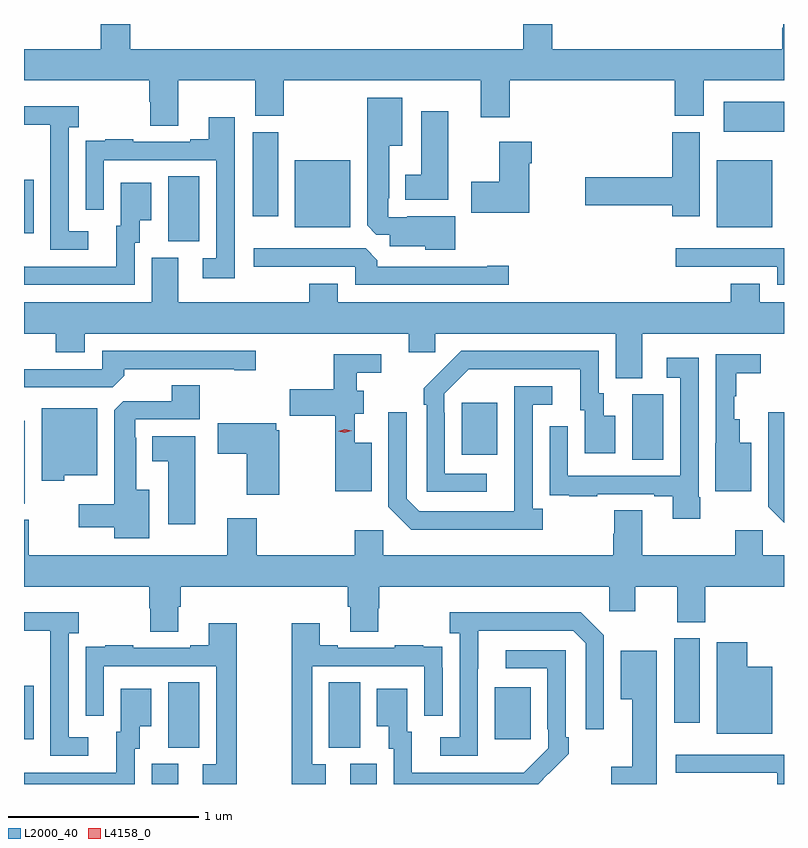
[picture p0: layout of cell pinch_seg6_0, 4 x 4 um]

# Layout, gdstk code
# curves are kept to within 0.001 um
import gdstk
lib = gdstk.Library(unit=1e-6, precision=1e-09)
def R(c, l, rs):  # rectangles x0, y0, x1, y1
    for r in rs: c.add(gdstk.rectangle(r[:2], r[2:], *l))
def P(c, l, *ps):  # polygons
    for p in ps: c.add(gdstk.Polygon(p, *l))
L2000_40 = (2000, 40)
L4158_0 = (4158, 0)

pinch_seg6_0 = lib.new_cell('pinch_seg6_0')
R(pinch_seg6_0, L2000_40, [(1066.151,982.261,1066.291,982.368), (1067.195,982.261,1067.335,982.368), (1066.238,982.453,1066.402,982.796), (1067.084,982.453,1067.248,982.796), (1065.479,982.497,1065.529,982.777), (1067.957,982.497,1068.145,982.771), (1068.902,982.584,1069.036,983.028), (1065.479,983.737,1065.484,984.172), (1068.68,983.968,1068.844,984.312), (1067.783,983.993,1067.971,984.268), (1066.238,985.117,1066.402,985.46), (1065.479,985.161,1065.529,985.441), (1066.904,985.19,1067.197,985.543), (1069.124,985.19,1069.417,985.543), (1066.682,985.248,1066.816,985.692), (1069.161,985.694,1069.479,985.852)])
P(pinch_seg6_0, L2000_40, [(1066.291,985.964),(1066.697,985.964),(1066.697,985.777),(1066.845,985.777),(1066.845,985.964),(1067.882,985.964),(1067.882,985.77),(1068.035,985.77),(1068.035,985.964),(1068.905,985.964),(1068.905,985.777),(1069.057,985.777),(1069.057,985.964),(1069.479,985.964),(1069.479,986.261),(1069.474,986.261),(1069.474,986.241),(1069.469,986.241),(1069.469,986.128),(1068.258,986.128),(1068.258,986.26),(1068.107,986.26),(1068.107,986.128),(1066.037,986.128),(1066.037,986.261),(1065.884,986.261),(1065.884,986.128),(1065.479,986.128),(1065.479,985.964),(1066.139,985.964),(1066.139,985.851),(1066.144,985.851),(1066.144,985.726),(1066.291,985.726)],
  [(1067.749,985.249),(1067.497,985.249),(1067.497,985.245),(1067.397,985.245),(1067.397,985.345),(1067.401,985.345),(1067.401,985.619),(1067.47,985.619),(1067.47,985.873),(1067.285,985.873),(1067.285,985.201),(1067.334,985.152),(1067.405,985.152),(1067.405,985.091),(1067.592,985.091),(1067.592,985.073),(1067.749,985.073)],
  [(1065.817,985.17),(1065.714,985.17),(1065.714,985.718),(1065.766,985.718),(1065.766,985.828),(1065.479,985.828),(1065.479,985.731),(1065.618,985.731),(1065.618,985.074),(1065.817,985.074)],
  [(1067.713,985.801),(1067.57,985.801),(1067.57,985.468),(1067.486,985.468),(1067.486,985.337),(1067.713,985.337)],
  [(1066.587,985.771),(1066.451,985.771),(1066.451,985.654),(1066.355,985.654),(1066.355,985.641),(1066.055,985.641),(1066.055,985.654),(1065.907,985.654),(1065.907,985.647),(1065.805,985.647),(1065.805,985.538),(1065.804,985.538),(1065.804,985.284),(1065.9,985.284),(1065.9,985.545),(1066.491,985.545),(1066.491,985.029),(1066.419,985.029),(1066.419,984.924),(1066.587,984.924)],
  [(1069.036,985.692),(1068.89,985.692),(1068.89,985.454),(1068.432,985.454),(1068.432,985.307),(1068.89,985.307),(1068.89,985.248),(1069.036,985.248)],
  [(1068.139,985.529),(1068.152,985.529),(1068.152,985.642),(1067.981,985.642),(1067.981,985.431),(1067.832,985.431),(1067.832,985.268),(1068.139,985.268)],
  [(1066.062,985.11),(1066.087,985.11),(1066.087,985.229),(1066.15,985.229),(1066.15,985.426),(1065.989,985.426),(1065.989,985.2),(1065.965,985.2),(1065.965,984.984),(1065.481,984.984),(1065.481,984.985),(1065.479,984.985),(1065.479,984.888),(1066.062,984.888)],
  [(1069.479,985.08),(1068.909,985.08),(1068.909,984.984),(1069.443,984.984),(1069.443,984.888),(1069.479,984.888)],
  [(1068.031,984.989),(1067.918,984.989),(1067.918,984.984),(1067.339,984.984),(1067.339,985.018),(1067.277,985.08),(1066.689,985.08),(1066.689,984.984),(1067.223,984.984),(1067.223,984.888),(1068.031,984.888)],
  [(1065.479,984.632),(1065.647,984.632),(1065.647,984.533),(1065.799,984.533),(1065.799,984.632),(1067.504,984.632),(1067.504,984.534),(1067.643,984.534),(1067.643,984.632),(1068.593,984.632),(1068.593,984.397),(1068.733,984.397),(1068.733,984.632),(1069.479,984.632),(1069.479,984.796),(1069.351,984.796),(1069.351,984.895),(1069.199,984.895),(1069.199,984.796),(1067.131,984.796),(1067.131,984.895),(1066.979,984.895),(1066.979,984.796),(1066.291,984.796),(1066.291,985.032),(1066.151,985.032),(1066.151,984.796),(1065.479,984.796)],
  [(1067.914,983.895),(1067.694,983.895),(1067.694,984.215),(1067.691,984.215),(1067.691,984.315),(1067.82,984.444),(1068.407,984.444),(1068.407,984.228),(1068.431,984.228),(1068.431,984.003),(1068.592,984.003),(1068.592,984.199),(1068.529,984.199),(1068.529,984.318),(1068.504,984.318),(1068.504,984.54),(1067.78,984.54),(1067.583,984.345),(1067.583,984.257),(1067.598,984.257),(1067.598,983.799),(1067.914,983.799)],
  [(1066.007,984.41),(1066.007,984.444),(1066.586,984.444),(1066.586,984.439),(1066.699,984.439),(1066.699,984.54),(1065.891,984.54),(1065.891,984.444),(1065.479,984.444),(1065.479,984.348),(1065.945,984.348)],
  [(1067.308,984.058),(1067.219,984.058),(1067.219,984.209),(1067.266,984.209),(1067.266,984.331),(1067.23,984.331),(1067.23,984.426),(1067.359,984.426),(1067.359,984.522),(1067.109,984.522),(1067.109,984.339),(1066.878,984.339),(1066.878,984.198),(1067.116,984.198),(1067.116,983.801),(1067.308,983.801)],
  [(1069.306,984.058),(1069.246,984.058),(1069.246,984.181),(1069.217,984.181),(1069.217,984.303),(1069.228,984.303),(1069.228,984.424),(1069.357,984.424),(1069.357,984.522),(1069.119,984.522),(1069.119,984.054),(1069.118,984.054),(1069.118,983.801),(1069.306,983.801)],
  [(1069.038,983.77),(1069.029,983.77),(1069.029,984.505),(1068.861,984.505),(1068.861,984.399),(1068.933,984.399),(1068.933,983.883),(1068.342,983.883),(1068.342,984.145),(1068.246,984.145),(1068.246,983.89),(1068.247,983.89),(1068.247,983.781),(1068.349,983.781),(1068.349,983.775),(1068.497,983.775),(1068.497,983.787),(1068.797,983.787),(1068.797,983.775),(1068.893,983.775),(1068.893,983.658),(1069.038,983.658)],
  [(1066.138,983.809),(1066.069,983.809),(1066.069,984.083),(1066.065,984.083),(1066.065,984.18),(1066.404,984.18),(1066.404,984.359),(1066.256,984.359),(1066.256,984.276),(1066.002,984.276),(1065.953,984.227),(1065.953,983.734),(1065.768,983.734),(1065.768,983.612),(1065.953,983.612),(1065.953,983.555),(1066.138,983.555)],
  [(1068.208,983.71),(1068.156,983.71),(1068.156,984.258),(1068.259,984.258),(1068.259,984.354),(1068.06,984.354),(1068.059,983.697),(1067.559,983.697),(1067.493,983.763),(1067.493,984.217),(1067.397,984.217),(1067.397,983.721),(1067.518,983.6),(1068.208,983.6)],
  [(1065.69,983.885),(1065.865,983.885),(1065.865,984.238),(1065.572,984.238),(1065.572,983.858),(1065.69,983.858)],
  [(1069.479,984.217),(1069.395,984.217),(1069.395,983.721),(1069.479,983.637)],
  [(1066.822,984.123),(1066.806,984.123),(1066.806,984.159),(1066.5,984.159),(1066.5,983.998),(1066.652,983.998),(1066.652,983.783),(1066.822,983.783)],
  [(1066.381,984.091),(1066.154,984.091),(1066.154,983.96),(1066.238,983.96),(1066.238,983.628),(1066.381,983.628)],
  [(1066.291,983.194),(1066.304,983.194),(1066.304,983.3),(1067.183,983.3),(1067.183,983.194),(1067.195,983.194),(1067.195,983.062),(1067.343,983.062),(1067.343,983.187),(1067.348,983.187),(1067.348,983.3),(1068.558,983.3),(1068.558,983.169),(1068.697,983.169),(1068.697,983.3),(1068.917,983.3),(1068.917,983.113),(1069.065,983.113),(1069.065,983.3),(1069.479,983.3),(1069.479,983.464),(1069.368,983.464),(1069.368,983.596),(1069.222,983.596),(1069.222,983.464),(1068.733,983.464),(1068.733,983.702),(1068.586,983.702),(1068.586,983.577),(1068.581,983.577),(1068.581,983.464),(1067.37,983.464),(1067.37,983.596),(1067.219,983.596),(1067.219,983.464),(1066.703,983.464),(1066.703,983.659),(1066.55,983.659),(1066.55,983.464),(1065.505,983.464),(1065.505,983.652),(1065.479,983.652),(1065.479,983.3),(1066.139,983.3),(1066.139,983.187),(1066.144,983.187),(1066.144,983.062),(1066.291,983.062)],
  [(1065.817,982.506),(1065.714,982.506),(1065.714,983.054),(1065.766,983.054),(1065.766,983.164),(1065.479,983.164),(1065.479,983.067),(1065.618,983.067),(1065.618,982.41),(1065.817,982.41)],
  [(1067.868,982.867),(1067.869,983.067),(1068.369,983.067),(1068.435,983.001),(1068.435,982.548),(1068.531,982.548),(1068.531,983.043),(1068.41,983.164),(1067.721,983.164),(1067.721,983.054),(1067.772,983.054),(1067.772,982.506),(1067.67,982.506),(1067.67,982.41),(1067.868,982.41)],
  [(1066.6,983.107),(1066.451,983.107),(1066.451,982.99),(1066.355,982.99),(1066.355,982.977),(1066.055,982.977),(1066.055,982.99),(1065.907,982.99),(1065.907,982.983),(1065.805,982.983),(1065.805,982.874),(1065.804,982.874),(1065.804,982.62),(1065.9,982.62),(1065.9,982.881),(1066.491,982.881),(1066.491,982.365),(1066.419,982.365),(1066.419,982.261),(1066.6,982.261)],
  [(1067.068,982.365),(1066.995,982.365),(1066.995,982.881),(1067.586,982.881),(1067.586,982.62),(1067.682,982.62),(1067.682,982.874),(1067.681,982.874),(1067.681,982.983),(1067.579,982.983),(1067.579,982.99),(1067.431,982.99),(1067.431,982.977),(1067.131,982.977),(1067.131,982.99),(1067.035,982.99),(1067.035,983.107),(1066.887,983.107),(1066.887,982.261),(1067.068,982.261)],
  [(1069.417,982.879),(1069.285,982.879),(1069.285,983.008),(1069.124,983.008),(1069.124,982.526),(1069.417,982.526)],
  [(1068.239,982.315),(1068.24,982.314),(1068.345,982.419),(1068.345,982.507),(1068.33,982.507),(1068.33,982.965),(1068.015,982.965),(1068.015,982.869),(1068.234,982.869),(1068.234,982.549),(1068.237,982.549),(1068.237,982.449),(1068.109,982.321),(1067.521,982.32),(1067.521,982.536),(1067.497,982.536),(1067.497,982.762),(1067.336,982.762),(1067.336,982.565),(1067.399,982.565),(1067.399,982.446),(1067.424,982.446),(1067.424,982.261),(1068.185,982.261)],
  [(1068.808,982.963),(1068.62,982.963),(1068.62,982.706),(1068.68,982.706),(1068.68,982.351),(1068.57,982.351),(1068.57,982.261),(1068.808,982.261)],
  [(1066.062,982.446),(1066.087,982.446),(1066.087,982.565),(1066.15,982.565),(1066.15,982.762),(1065.989,982.762),(1065.989,982.536),(1065.965,982.536),(1065.965,982.32),(1065.481,982.32),(1065.481,982.321),(1065.479,982.321),(1065.479,982.261),(1066.062,982.261)],
  [(1069.479,982.416),(1068.909,982.416),(1068.909,982.32),(1069.443,982.32),(1069.443,982.261),(1069.479,982.261)])
P(pinch_seg6_0, L4158_0, [(1067.168,984.109),(1067.132,984.118),(1067.132,984.118),(1067.132,984.118),(1067.168,984.129),(1067.204,984.121),(1067.204,984.121),(1067.204,984.121)])

lib.write_gds('pinch_seg6_0.gds')
